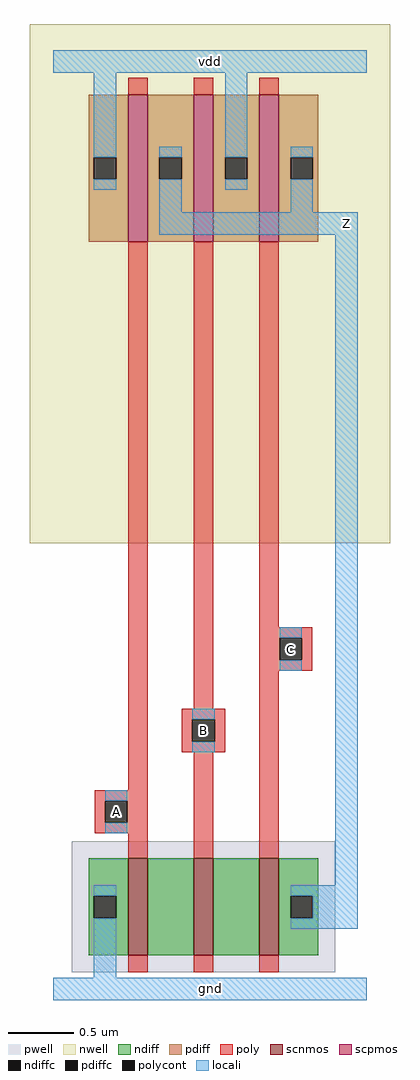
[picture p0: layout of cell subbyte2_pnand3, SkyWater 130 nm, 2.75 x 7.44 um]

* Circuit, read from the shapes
.subckt subbyte2_pnand3 A B C Z gnd vdd
XM1 n1 A gnd VSUBS sky130_fd_pr__nfet_01v8 w=0.74 l=0.15
XM2 n2 B n1 VSUBS sky130_fd_pr__nfet_01v8 w=0.74 l=0.15
XM3 Z C n2 VSUBS sky130_fd_pr__nfet_01v8 w=0.74 l=0.15
XM4 Z A vdd n3 sky130_fd_pr__pfet_01v8 w=1.12 l=0.15
XM5 vdd B Z n3 sky130_fd_pr__pfet_01v8 w=1.12 l=0.15
XM6 Z C vdd n3 sky130_fd_pr__pfet_01v8 w=1.12 l=0.15
.ends

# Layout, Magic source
magic
tech sky130A
magscale 1 2
<< nwell >>
rect -36 679 514 1471
<< pwell >>
rect 28 25 430 225
<< scnmos >>
rect 114 51 144 199
rect 214 51 244 199
rect 314 51 344 199
<< scpmos >>
rect 114 1139 144 1363
rect 214 1139 244 1363
rect 314 1139 344 1363
<< ndiff >>
rect 54 142 114 199
rect 54 108 62 142
rect 96 108 114 142
rect 54 51 114 108
rect 144 51 214 199
rect 244 51 314 199
rect 344 142 404 199
rect 344 108 362 142
rect 396 108 404 142
rect 344 51 404 108
<< pdiff >>
rect 54 1268 114 1363
rect 54 1234 62 1268
rect 96 1234 114 1268
rect 54 1139 114 1234
rect 144 1268 214 1363
rect 144 1234 162 1268
rect 196 1234 214 1268
rect 144 1139 214 1234
rect 244 1268 314 1363
rect 244 1234 262 1268
rect 296 1234 314 1268
rect 244 1139 314 1234
rect 344 1268 404 1363
rect 344 1234 362 1268
rect 396 1234 404 1268
rect 344 1139 404 1234
<< ndiffc >>
rect 62 108 96 142
rect 362 108 396 142
<< pdiffc >>
rect 62 1234 96 1268
rect 162 1234 196 1268
rect 262 1234 296 1268
rect 362 1234 396 1268
<< poly >>
rect 114 1363 144 1389
rect 214 1363 244 1389
rect 314 1363 344 1389
rect 114 303 144 1139
rect 214 427 244 1139
rect 314 551 344 1139
rect 314 535 395 551
rect 314 501 345 535
rect 379 501 395 535
rect 314 485 395 501
rect 196 411 262 427
rect 196 377 212 411
rect 246 377 262 411
rect 196 361 262 377
rect 63 287 144 303
rect 63 253 79 287
rect 113 253 144 287
rect 63 237 144 253
rect 114 199 144 237
rect 214 199 244 361
rect 314 199 344 485
rect 114 25 144 51
rect 214 25 244 51
rect 314 25 344 51
<< polycont >>
rect 345 501 379 535
rect 212 377 246 411
rect 79 253 113 287
<< locali >>
rect 0 1397 478 1431
rect 62 1268 96 1397
rect 62 1218 96 1234
rect 162 1268 196 1284
rect 162 1184 196 1234
rect 262 1268 296 1397
rect 262 1218 296 1234
rect 362 1268 396 1284
rect 362 1184 396 1234
rect 162 1150 464 1184
rect 345 535 379 551
rect 345 485 379 501
rect 212 411 246 427
rect 212 361 246 377
rect 79 287 113 303
rect 79 237 113 253
rect 430 158 464 1150
rect 62 142 96 158
rect 62 17 96 108
rect 362 142 464 158
rect 396 108 464 142
rect 362 92 464 108
rect 0 -17 478 17
<< labels >>
rlabel locali s 96 270 96 270 4 A
port 1 nsew
rlabel locali s 229 394 229 394 4 B
port 2 nsew
rlabel locali s 362 518 362 518 4 C
port 3 nsew
rlabel locali s 447 1167 447 1167 4 Z
port 4 nsew
rlabel locali s 239 0 239 0 4 gnd
port 5 nsew
rlabel locali s 239 1414 239 1414 4 vdd
port 6 nsew
<< properties >>
string FIXED_BBOX 0 0 478 1167
<< end >>
